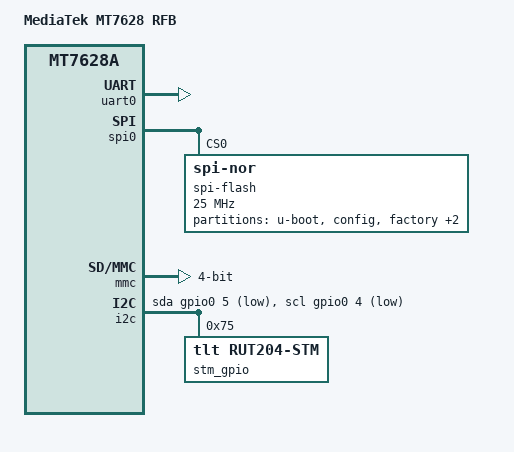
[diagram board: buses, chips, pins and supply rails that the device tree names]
// SPDX-License-Identifier: GPL-2.0
/*
 * Copyright (C) 2020 MediaTek Inc.
 *
 * Author: Weijie Gao <weijie.gao@mediatek.com>
 */

/dts-v1/;

#include "mt7628a.dtsi"

/ {
	compatible = "mediatek,mt7628-rfb", "ralink,mt7628a-soc";
	model = "MediaTek MT7628 RFB";

	aliases {
		serial0 = &uart0;
		spi0 = &spi0;
	};

	chosen {
		stdout-path = &uart0;
	};
};

&pinctrl {
	state_default: pin_state {
		pleds {
			groups = "p0led", "p1led", "p2led", "p3led", "p4led";
			function = "led";
		};
	};
};

&uart0 {
	status = "okay";
};

&spi0 {
	status = "okay";
	num-cs = <2>;

	spi-flash@0 {
		#address-cells = <1>;
		#size-cells = <1>;
		compatible = "jedec,spi-nor";
		spi-max-frequency = <25000000>;
		reg = <0>;


		partitions {
			compatible = "fixed-partitions";
			#address-cells = <1>;
			#size-cells = <1>;

			boot: boot: partition@0 {
				label = "u-boot";
				reg = <0x0 0x40000>;
			};

			config: partition@40000 {
				label = "config";
				reg = <0x040000 0x010000>;
			};

			factory: partition@50000 {
				label = "factory";
				reg = <0x050000 0x030000>;
			};

			partition@60000 {
				label = "firmware";
				reg = <0x080000 0x1ed0000>;
			};

			partition@f70000 {
				label = "event-log";
				reg = <0x1f50000 0x80000>;
			};
		};

	};
};

&eth {
	pinctrl-names = "default";
	pinctrl-0 = <&ephy_router_mode>;
};

&mmc {
	bus-width = <4>;
	cap-sd-highspeed;

	pinctrl-names = "default";
	pinctrl-0 = <&sd_router_mode>;

	status = "okay";
};

&i2c {
	status = "okay";
	sda-gpios = <&gpio0 5 1>;
	scl-gpios = <&gpio0 4 1>;

	stm_gpio: gpio@75 {
		compatible = "tlt,rut204-stm";
		reg = <0x75>;
		gpio-controller;
		#gpio-cells = <2>;
		status = "okay";
	};

};
